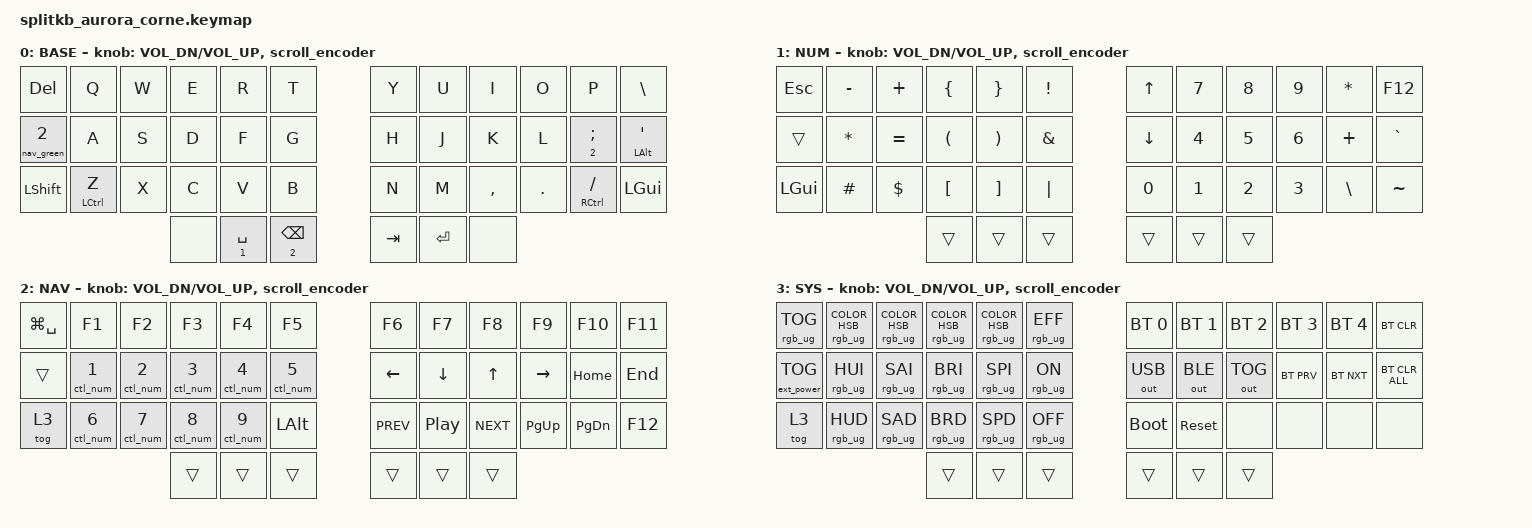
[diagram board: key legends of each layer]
/*
 * Aurora Corne rev1.1 — QWERTY, laid out to echo the Moonlander config.
 *
 * 0 BASE  QWERTY, LEDs off
 * 1 NUM   left-hand symbols, right-hand numpad   hold middle left thumb (space)
 * 2 NAV   F-keys, arrows, media, ctrl-digits     hold inner left thumb (bspc)
 * 3 SYS   Bluetooth, RGB, reset                  hold both, or latch with T3
 *
 * The outermost thumb on each half is the encoder position and has no switch.
 */

#include <behaviors.dtsi>
#include <dt-bindings/zmk/keys.h>
#include <dt-bindings/zmk/bt.h>
#include <dt-bindings/zmk/outputs.h>
#include <dt-bindings/zmk/rgb.h>
#include <dt-bindings/zmk/ext_power.h>
/*
 * Scroll speed, in units/second. &msc accumulates speed * 16ms per tick and
 * reports only whole units, discarding the remainder on release — so one
 * detent must clear 1.0 within tap-ms below or it scrolls nothing at all.
 * 30 over 120ms gives ~3 lines per detent.
 */
#define ZMK_POINTING_DEFAULT_SCRL_VAL 30
#include <dt-bindings/zmk/pointing.h>

/* 21 per-key LEDs per half. Trailing LEDs stay dark if this is set too low. */
&led_strip {
    chain-length = <21>;
};

/ {
    /*
     * ZMK has no layer->colour hook, so each layer key is a macro that lights
     * the strip on press and cuts it on release. RGB_OFF also drops the LED
     * power rail, so base costs nothing. &rgb_ug is global-locality, so both
     * halves follow.
     */
    macros {
        num_blue: num_blue {
            compatible = "zmk,behavior-macro-one-param";
            #binding-cells = <1>;
            bindings
                = <&macro_param_1to1>
                , <&macro_press &mo MACRO_PLACEHOLDER>
                , <&macro_tap &rgb_ug RGB_ON>
                , <&macro_tap &rgb_ug RGB_COLOR_HSB(240,100,100)>
                , <&macro_pause_for_release>
                , <&macro_param_1to1>
                , <&macro_release &mo MACRO_PLACEHOLDER>
                , <&macro_tap &rgb_ug RGB_OFF>
                ;
        };

        nav_green: nav_green {
            compatible = "zmk,behavior-macro-one-param";
            #binding-cells = <1>;
            bindings
                = <&macro_param_1to1>
                , <&macro_press &mo MACRO_PLACEHOLDER>
                , <&macro_tap &rgb_ug RGB_ON>
                , <&macro_tap &rgb_ug RGB_COLOR_HSB(120,100,100)>
                , <&macro_pause_for_release>
                , <&macro_param_1to1>
                , <&macro_release &mo MACRO_PLACEHOLDER>
                , <&macro_tap &rgb_ug RGB_OFF>
                ;
        };
        /*
         * &kp LC(N3) emits the digit before the ctrl bit, so Karabiner sees a
         * bare 3 and its mandatory-control rules never match. Press ctrl in its
         * own report first.
         */
        ctl_num: ctl_num {
            compatible = "zmk,behavior-macro-one-param";
            #binding-cells = <1>;
            wait-ms = <10>;
            tap-ms = <10>;
            bindings
                = <&macro_press &kp LCTRL>
                , <&macro_param_1to1>
                , <&macro_tap &kp MACRO_PLACEHOLDER>
                , <&macro_release &kp LCTRL>
                ;
        };
    };

    behaviors {
        /* Hold-taps whose hold half is the colour macro rather than a bare &mo. */
        lt_num: lt_num {
            compatible = "zmk,behavior-hold-tap";
            #binding-cells = <2>;
            flavor = "tap-preferred";
            tapping-term-ms = <200>;
            bindings = <&num_blue>, <&kp>;
        };

        lt_nav: lt_nav {
            compatible = "zmk,behavior-hold-tap";
            #binding-cells = <2>;
            flavor = "tap-preferred";
            tapping-term-ms = <200>;
            bindings = <&nav_green>, <&kp>;
        };

        scroll_encoder: scroll_encoder {
            compatible = "zmk,behavior-sensor-rotate";
            #sensor-binding-cells = <0>;
            bindings = <&msc SCRL_DOWN>, <&msc SCRL_UP>;
            tap-ms = <120>;
        };
    };

    conditional_layers {
        compatible = "zmk,conditional-layers";

        tri_layer {
            if-layers = <1 2>;
            then-layer = <3>;
        };
    };

    keymap {
        compatible = "zmk,keymap";

        base_layer {
            display-name = "BASE";
            bindings = <
&kp DEL        &kp Q        &kp W  &kp E  &kp R  &kp T           &kp Y  &kp U  &kp I      &kp O    &kp P            &kp BSLH
&nav_green 2   &kp A        &kp S  &kp D  &kp F  &kp G           &kp H  &kp J  &kp K      &kp L    &lt_nav 2 SEMI   &mt LALT SQT
&kp LSHFT      &mt LCTRL Z  &kp X  &kp C  &kp V  &kp B           &kp N  &kp M  &kp COMMA  &kp DOT  &mt RCTRL FSLH   &kp LGUI
                     &none  &lt_num 1 SPACE  &lt_nav 2 BSPC      &kp TAB  &kp RET  &none
            >;

            sensor-bindings = <&inc_dec_kp C_VOL_DN C_VOL_UP &scroll_encoder>;
        };

        num_layer {
            display-name = "NUM";
            bindings = <
&kp ESC    &kp MINUS  &kp PLUS   &kp LBRC  &kp RBRC  &kp EXCL     &kp UP    &kp N7  &kp N8  &kp N9  &kp STAR   &kp F12
&trans     &kp STAR   &kp EQUAL  &kp LPAR  &kp RPAR  &kp AMPS     &kp DOWN  &kp N4  &kp N5  &kp N6  &kp PLUS   &kp GRAVE
&kp LGUI   &kp HASH   &kp DLLR   &kp LBKT  &kp RBKT  &kp PIPE     &kp N0    &kp N1  &kp N2  &kp N3  &kp BSLH   &kp TILDE
                                 &trans    &trans    &trans       &trans    &trans  &trans
            >;

            sensor-bindings = <&inc_dec_kp C_VOL_DN C_VOL_UP &scroll_encoder>;
        };

        nav_layer {
            display-name = "NAV";
            bindings = <
&kp LG(SPACE)  &kp F1         &kp F2         &kp F3         &kp F4         &kp F5          &kp F6      &kp F7    &kp F8      &kp F9     &kp F10    &kp F11
&trans         &ctl_num N1    &ctl_num N2    &ctl_num N3    &ctl_num N4    &ctl_num N5     &kp LEFT    &kp DOWN  &kp UP      &kp RIGHT  &kp HOME   &kp END
&tog 3         &ctl_num N6    &ctl_num N7    &ctl_num N8    &ctl_num N9    &kp LALT        &kp C_PREV  &kp C_PP  &kp C_NEXT  &kp PG_UP  &kp PG_DN  &kp F12
                                             &trans         &trans         &trans          &trans      &trans    &trans
            >;

            sensor-bindings = <&inc_dec_kp C_VOL_DN C_VOL_UP &scroll_encoder>;
        };

        sys_layer {
            display-name = "SYS";
            bindings = <
&rgb_ug RGB_TOG    &rgb_ug RGB_COLOR_HSB(0,100,100)  &rgb_ug RGB_COLOR_HSB(120,100,100)  &rgb_ug RGB_COLOR_HSB(240,100,100)  &rgb_ug RGB_COLOR_HSB(0,0,100)  &rgb_ug RGB_EFF    &bt BT_SEL 0  &bt BT_SEL 1  &bt BT_SEL 2  &bt BT_SEL 3  &bt BT_SEL 4  &bt BT_CLR
&ext_power EP_TOG  &rgb_ug RGB_HUI                   &rgb_ug RGB_SAI                     &rgb_ug RGB_BRI                     &rgb_ug RGB_SPI                 &rgb_ug RGB_ON     &out OUT_USB  &out OUT_BLE  &out OUT_TOG  &bt BT_PRV    &bt BT_NXT    &bt BT_CLR_ALL
&tog 3             &rgb_ug RGB_HUD                   &rgb_ug RGB_SAD                     &rgb_ug RGB_BRD                     &rgb_ug RGB_SPD                 &rgb_ug RGB_OFF    &bootloader   &sys_reset    &none         &none         &none         &none
                                                                                         &trans                              &trans                          &trans             &trans        &trans        &trans
            >;

            sensor-bindings = <&inc_dec_kp C_VOL_DN C_VOL_UP &scroll_encoder>;
        };
    };
};
